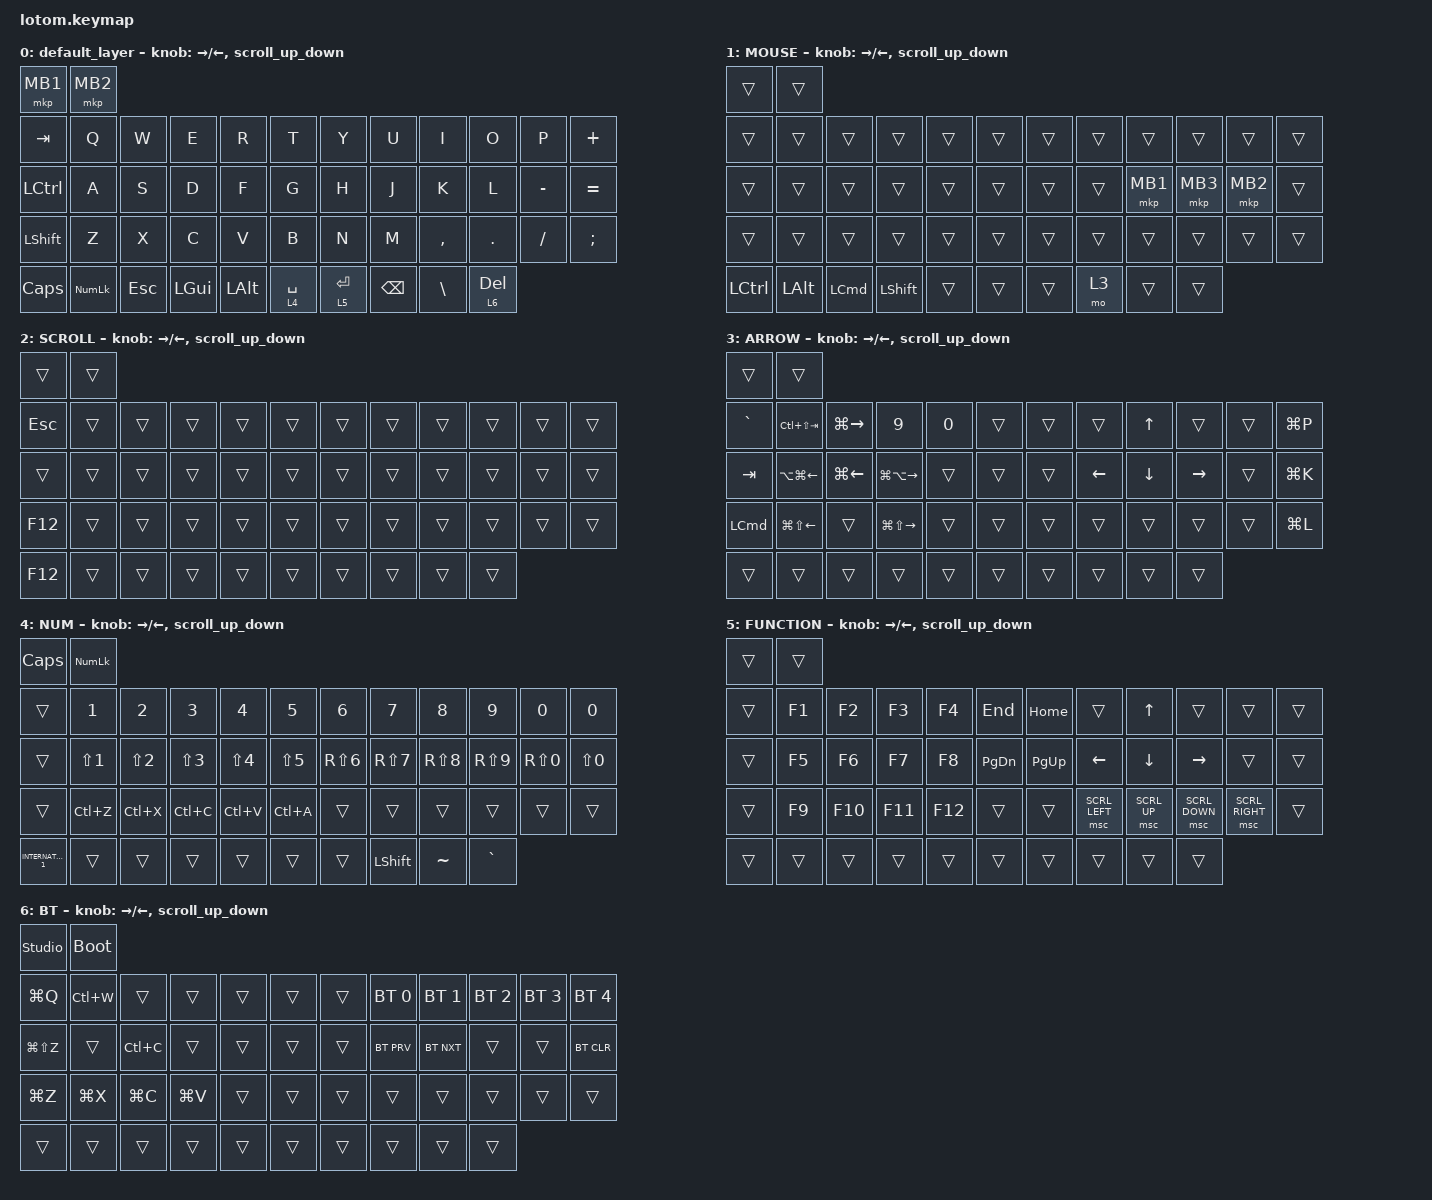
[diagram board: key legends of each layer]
#include <behaviors.dtsi>
#include <dt-bindings/zmk/bt.h>
#include <dt-bindings/zmk/keys.h>
#include <dt-bindings/zmk/pointing.h>

#define ZMK_POINTING_DEFAULT_SCRL_VAL 80

/ {
    behaviors {
        scroll_up_down: behavior_sensor_rotate_mouse_wheel_up_down {
            compatible = "zmk,behavior-sensor-rotate";
            label = "ENCODER_MSC_DOWN_UP";
            #sensor-binding-cells = <0>;
            bindings = <&msc SCRL_DOWN>, <&msc SCRL_UP>;

            tap-ms = <20>;
        };

        tab_slide: behavior_sensor_rotate_tab_slide {
            compatible = "zmk,behavior-sensor-rotate";
            label = "ENCODER_TAB_SLIDE";
            #sensor-binding-cells = <0>;
            bindings = <&kp LA(LG(RIGHT_ARROW))>, <&kp LA(LG(LEFT_ARROW))>;

            tap-ms = <20>;
        };
    };

    combos {
        compatible = "zmk,combos";

        lang1 {
            bindings = <&kp LANGUAGE_1>;
            key-positions = <17 18>;
        };

        lang2 {
            bindings = <&kp LANGUAGE_2>;
            key-positions = <22 21>;
        };

        esc {
            bindings = <&kp ESCAPE>;
            key-positions = <38 39>;
        };

        lbracketA {
            bindings = <&kp LEFT_BRACKET>;
            key-positions = <6 7>;
        };

        rbracket {
            bindings = <&kp RIGHT_BRACKET>;
            key-positions = <9 8>;
        };

        lbrace {
            bindings = <&kp LEFT_BRACE>;
            key-positions = <18 19>;
        };

        rbrace {
            bindings = <&kp RIGHT_BRACE>;
            key-positions = <21 20>;
        };

        tab {
            bindings = <&kp TAB>;
            key-positions = <2 3>;
        };

        MB1 {
            bindings = <&mkp MB1>;
            key-positions = <22 23>;
        };

        MB2 {
            bindings = <&mkp MB2>;
            key-positions = <23 24>;
        };

        MSC {
            bindings = <&mkp MB3>;
            key-positions = <22 23 24>;
        };
    };

    keymap {
        compatible = "zmk,keymap";

        default_layer {
            bindings = <
&mkp MB1      &mkp MB2
&kp TAB       &kp Q           &kp W       &kp E         &kp R         &kp T        &kp Y        &kp U          &kp I          &kp O         &kp P      &kp PLUS
&kp LCTRL     &kp A           &kp S       &kp D         &kp F         &kp G        &kp H        &kp J          &kp K          &kp L         &kp MINUS  &kp EQUAL
&kp LSHIFT    &kp Z           &kp X       &kp C         &kp V         &kp B        &kp N        &kp M          &kp COMMA      &kp PERIOD    &kp SLASH  &kp SEMICOLON
&kp CAPSLOCK  &kp KP_NUMLOCK  &kp ESCAPE  &kp LEFT_GUI  &kp LEFT_ALT  &lt 4 SPACE  &lt 5 ENTER  &kp BACKSPACE  &kp BACKSLASH  &lt 6 DELETE
            >;

            sensor-bindings = <
                &inc_dec_kp RIGHT_ARROW LEFT_ARROW
                &scroll_up_down
            >;
        };

        MOUSE {
            bindings = <
&trans     &trans
&trans     &trans        &trans            &trans          &trans  &trans  &trans  &trans  &trans    &trans    &trans    &trans
&trans     &trans        &trans            &trans          &trans  &trans  &trans  &trans  &mkp MB1  &mkp MB3  &mkp MB2  &trans
&trans     &trans        &trans            &trans          &trans  &trans  &trans  &trans  &trans    &trans    &trans    &trans
&kp LCTRL  &kp LEFT_ALT  &kp LEFT_COMMAND  &kp LEFT_SHIFT  &trans  &trans  &trans  &mo 3   &trans    &trans
            >;

            sensor-bindings = <
                &inc_dec_kp RIGHT_ARROW LEFT_ARROW
                &scroll_up_down
            >;
        };

        SCROLL {
            bindings = <
&trans      &trans
&kp ESCAPE  &trans  &trans  &trans  &trans  &trans  &trans  &trans  &trans  &trans  &trans  &trans
&trans      &trans  &trans  &trans  &trans  &trans  &trans  &trans  &trans  &trans  &trans  &trans
&kp F12     &trans  &trans  &trans  &trans  &trans  &trans  &trans  &trans  &trans  &trans  &trans
&kp F12     &trans  &trans  &trans  &trans  &trans  &trans  &trans  &trans  &trans
            >;

            sensor-bindings = <
                &inc_dec_kp RIGHT_ARROW LEFT_ARROW
                &scroll_up_down
            >;
        };

        ARROW {
            bindings = <
&trans     &trans
&kp GRAVE  &kp LC(LS(TAB))         &kp LG(RIGHT)  &kp NUMBER_9             &kp NUMBER_0  &trans  &trans  &trans          &kp UP_ARROW    &trans           &trans  &kp LG(P)
&kp TAB    &kp LA(LG(LEFT_ARROW))  &kp LG(LEFT)   &kp LG(LA(RIGHT_ARROW))  &trans        &trans  &trans  &kp LEFT_ARROW  &kp DOWN_ARROW  &kp RIGHT_ARROW  &trans  &kp LG(K)
&kp LCMD   &kp LG(LS(LEFT_ARROW))  &trans         &kp LG(LS(RIGHT_ARROW))  &trans        &trans  &trans  &trans          &trans          &trans           &trans  &kp LG(L)
&trans     &trans                  &trans         &trans                   &trans        &trans  &trans  &trans          &trans          &trans
            >;

            sensor-bindings = <
                &inc_dec_kp RIGHT_ARROW LEFT_ARROW
                &scroll_up_down
            >;
        };

        NUM {
            bindings = <
&kp CAPS             &kp KP_NUMLOCK
&trans               &kp NUMBER_1      &kp NUMBER_2      &kp NUMBER_3      &kp NUMBER_4      &kp NUMBER_5      &kp NUMBER_6      &kp NUMBER_7      &kp NUMBER_8      &kp NUMBER_9      &kp NUMBER_0      &kp NUMBER_0
&trans               &kp LS(NUMBER_1)  &kp LS(NUMBER_2)  &kp LS(NUMBER_3)  &kp LS(NUMBER_4)  &kp LS(NUMBER_5)  &kp RS(NUMBER_6)  &kp RS(NUMBER_7)  &kp RS(NUMBER_8)  &kp RS(NUMBER_9)  &kp RS(NUMBER_0)  &kp LS(NUMBER_0)
&trans               &kp LC(Z)         &kp LC(X)         &kp LC(C)         &kp LC(V)         &kp LC(A)         &trans            &trans            &trans            &trans            &trans            &trans
&kp INTERNATIONAL_1  &trans            &trans            &trans            &trans            &trans            &trans            &kp LEFT_SHIFT    &kp TILDE         &kp GRAVE
            >;

            sensor-bindings = <
                &inc_dec_kp RIGHT_ARROW LEFT_ARROW
                &scroll_up_down
            >;
        };

        FUNCTION {
            bindings = <
&trans  &trans
&trans  &kp F1  &kp F2   &kp F3   &kp F4   &kp END    &kp HOME   &trans          &kp UP_ARROW    &trans           &trans           &trans
&trans  &kp F5  &kp F6   &kp F7   &kp F8   &kp PG_DN  &kp PG_UP  &kp LEFT        &kp DOWN_ARROW  &kp RIGHT_ARROW  &trans           &trans
&trans  &kp F9  &kp F10  &kp F11  &kp F12  &trans     &trans     &msc SCRL_LEFT  &msc SCRL_UP    &msc SCRL_DOWN   &msc SCRL_RIGHT  &trans
&trans  &trans  &trans   &trans   &trans   &trans     &trans     &trans          &trans          &trans
            >;

            sensor-bindings = <
                &inc_dec_kp RIGHT_ARROW LEFT_ARROW
                &scroll_up_down
            >;
        };

        BT {
            bindings = <
&studio_unlock  &bootloader
&kp LG(Q)       &kp LC(W)    &trans     &trans     &trans  &trans  &trans  &bt BT_SEL 0  &bt BT_SEL 1  &bt BT_SEL 2  &bt BT_SEL 3  &bt BT_SEL 4
&kp LG(LS(Z))   &trans       &kp LC(C)  &trans     &trans  &trans  &trans  &bt BT_PRV    &bt BT_NXT    &trans        &trans        &bt BT_CLR
&kp LG(Z)       &kp LG(X)    &kp LG(C)  &kp LG(V)  &trans  &trans  &trans  &trans        &trans        &trans        &trans        &trans
&trans          &trans       &trans     &trans     &trans  &trans  &trans  &trans        &trans        &trans
            >;

            sensor-bindings = <
                &inc_dec_kp RIGHT_ARROW LEFT_ARROW
                &scroll_up_down
            >;
        };
    };
};
